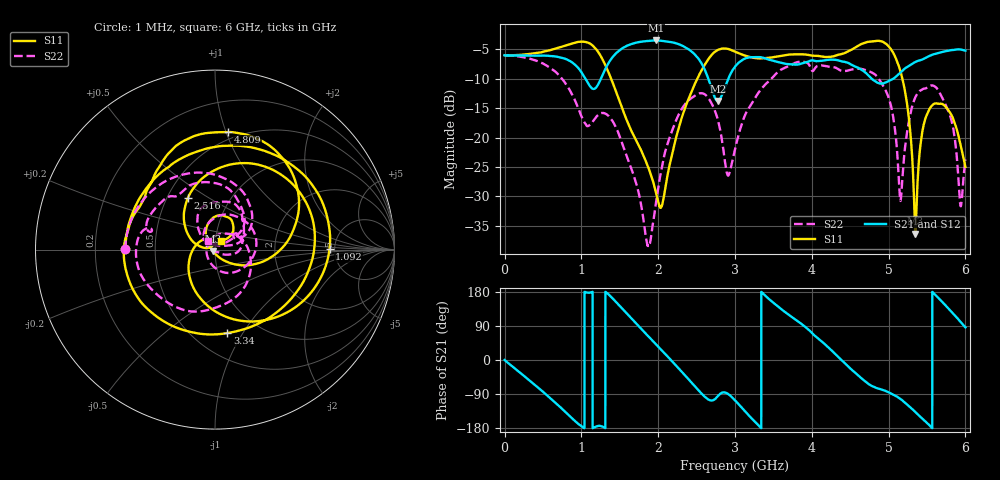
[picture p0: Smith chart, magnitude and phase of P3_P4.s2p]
! P3-P4  26-Dec-22  12:57:24
! Ref Plane: 0.000 mm
# MHZ S MA R  50
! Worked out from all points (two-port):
!   10001 points, 1 MHz to 6 GHz, reference 50 ohm
!   highest |S21| = -3.50 dB at 1.972 GHz (marker M1); lowest = -13.8 dB at 2.777 GHz (marker M2)
!   |S21| within 3 dB of the highest: start of sweep to 762.9 MHz; 1.396 GHz to 2.52 GHz (1.123 GHz wide, 57.4 % of centre)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
!   lowest |S11| = -36.4 dB at 5.349 GHz (marker M3), VSWR 1.03, Z = 48.8 - j0.948 ohm
!   |S11| at or under -10 dB: 1.387 GHz to 2.509 GHz (1.122 GHz wide, 57.6 % of centre); 5.179 GHz to end of sweep
!   |S22| runs from -38.5 to -6.0 dB; largest |S21 - S12| = 0.0096
!   S11 on the Smith chart (normalised r, x): 1 MHz: 0.33, +0.00; 1.092 GHz: 4.53, +0.06; 2.516 GHz: 0.64, +0.41; 3.34 GHz: 0.72, -0.86; 4.809 GHz: 0.44, +1.01; 6 GHz: 1.06, +0.10
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1  0.5008 179.8  0.5001 0.0  0.4998 -0.1  0.4999 179.8
527.1123  0.5405 111.6  0.4963 -88.5  0.4965 -88.5  0.4165 89.8
1001.033  0.6536 25.9  0.3585 -175.1  0.3602 -175.2  0.1518 25.1
1092.218  0.6382 0.4  0.2856 177.4  0.2864 177.2  0.1257 34.9
1272.188  0.4664 -58.7  0.3353 -175.3  0.3352 -175.5  0.1619 26.2
1510.948  0.1936 -138.8  0.5596 140.2  0.5578 140.2  0.09726 -15.3
1864.889  0.05695 110.2  0.6613 64.1  0.661 64.2  0.01205 -91.2
1971.671  0.03405 108.4  0.6681 41.5  0.6651 41.7  0.02804 174.8
2001.067  0.02837 115.4  0.667 35.1  0.6654 35.4  0.03713 161.9
2516.381  0.3235 118.0  0.4759 -77.9  0.4701 -77.6  0.2347 36.8
2776.737  0.5551 49.8  0.2043 -95.4  0.2049 -94.2  0.1421 -65.2
3000.5  0.5367 -10.9  0.4004 -106.3  0.4072 -105.8  0.07919 86.1
3340.043  0.4702 -81.7  0.4809 -179.4  0.4806 -179.9  0.2571 -46.7
4000.533  0.4966 168.5  0.4531 71.8  0.4554 71.9  0.3716 162.1
4808.599  0.659 83.8  0.305 -70.8  0.2997 -70.2  0.3491 78.2
5000.567  0.5962 42.4  0.3019 -85.3  0.2978 -84.7  0.2185 41.7
5157.141  0.3595 -0.8  0.3581 -103.1  0.3581 -102.4  0.02922 93.0
5348.509  0.01522 -140.4  0.4388 -137.3  0.4413 -136.9  0.2203 115.2
5576.471  0.19 86.0  0.5076 178.4  0.5041 178.5  0.2771 67.3
5818.23  0.1558 48.7  0.5535 127.3  0.553 127.2  0.1401 16.3
5935.811  0.08737 43.0  0.56 100.8  0.5605 101.3  0.02657 71.0
6000  0.0563 57.8  0.5472 86.0  0.5509 86.3  0.06507 130.5
